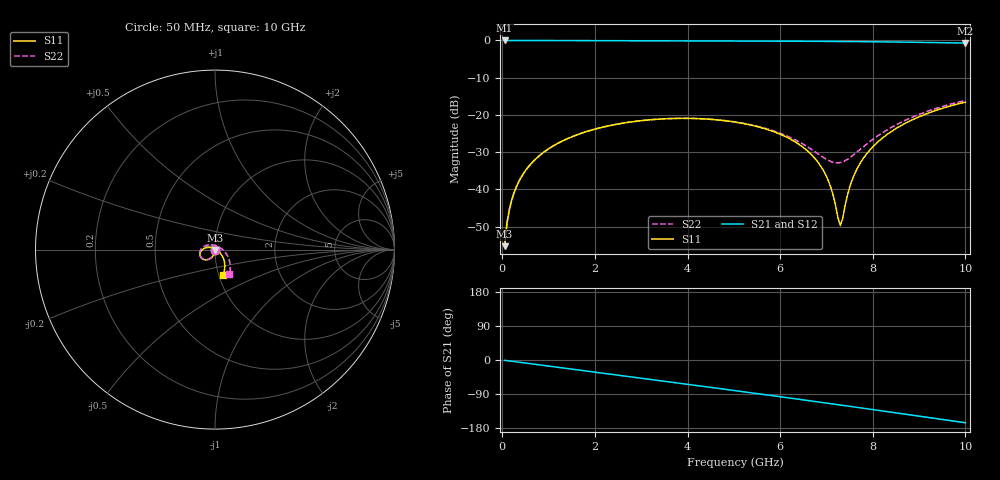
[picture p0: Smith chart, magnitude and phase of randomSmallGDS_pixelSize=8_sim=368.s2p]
! freq	dB(S11)	phase(S11)	dB(S12)	phase(S12)
!  dB(S21)	phase(S21)	dB(S22)	phase(S22)
!S-par simulation data
#  GHz  S  DB  R 50
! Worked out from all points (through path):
!   200 points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, 50 MHz to 10 GHz, reference 50 ohm
!   highest |S21| = 0.00 dB at 50 MHz (marker M1); lowest = -0.7 dB at 10 GHz (marker M2)
!   group delay of S21, straight-line fit = 45.8 ps
!   lowest |S11| = -55.2 dB at 50 MHz (marker M3), VSWR 1.00, Z = 50 - j0.173 ohm
!   |S11| at or under -10 dB: start of sweep to end of sweep
!   |S22| runs from -55.2 to -16.1 dB; largest |S21 - S12| = 0
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0.05  -55.22 -91.0  -0.00 -0.8  -0.00 -0.8  -55.19 -90.9
0.1  -49.14 -92.5  -0.00 -1.6  -0.00 -1.6  -49.10 -92.5
0.2  -43.00 -94.5  -0.00 -3.2  -0.00 -3.2  -42.97 -94.5
0.35  -38.06 -96.8  -0.00 -5.7  -0.00 -5.7  -38.05 -96.9
0.5  -34.96 -99.1  -0.01 -8.1  -0.01 -8.1  -34.95 -99.3
1  -29.09 -107.0  -0.02 -16.1  -0.02 -16.1  -29.09 -107.5
1.75  -24.73 -119.0  -0.04 -28.1  -0.04 -28.1  -24.73 -120.1
2.5  -22.42 -131.0  -0.07 -40.1  -0.07 -40.1  -22.42 -132.6
3.4  -21.10 -145.4  -0.09 -54.5  -0.09 -54.5  -21.10 -148.0
5.05  -21.96 -172.6  -0.15 -81.2  -0.15 -81.2  -21.91 -179.0
6.05  -25.44 169.7  -0.19 -97.7  -0.19 -97.7  -25.14 155.9
6.7  -30.97 155.8  -0.22 -108.6  -0.22 -108.6  -29.44 126.7
6.9  -34.21 149.4  -0.24 -112.0  -0.24 -112.0  -31.13 110.6
7.05  -37.96 141.6  -0.25 -114.5  -0.25 -114.5  -32.26 94.3
7.15  -41.84 131.2  -0.26 -116.2  -0.26 -116.2  -32.74 81.3
7.3  -49.71 62.7  -0.27 -118.8  -0.27 -118.8  -32.77 60.0
7.5  -39.42 -13.8  -0.29 -122.2  -0.29 -122.2  -31.51 34.0
7.65  -34.71 -23.8  -0.30 -124.8  -0.30 -124.8  -30.03 18.9
7.95  -29.23 -33.6  -0.34 -130.0  -0.34 -130.0  -27.02 -1.8
8.35  -24.87 -42.6  -0.39 -136.9  -0.39 -136.9  -23.71 -19.0
9.05  -20.23 -56.1  -0.51 -149.0  -0.51 -149.0  -19.62 -38.8
10  -16.54 -73.2  -0.71 -165.6  -0.71 -165.6  -16.12 -59.0
